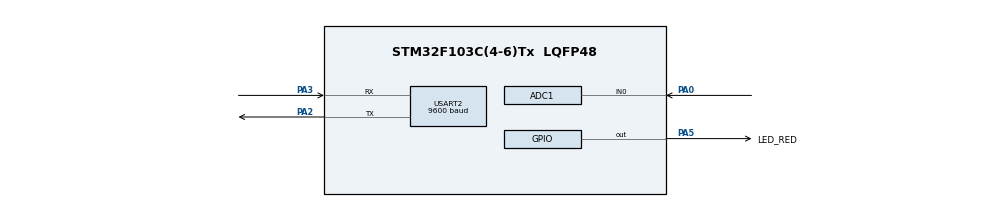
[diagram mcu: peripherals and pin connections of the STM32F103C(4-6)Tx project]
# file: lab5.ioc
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ADC1.Channel-0\#ChannelRegularConversion=ADC_CHANNEL_0
ADC1.ContinuousConvMode=ENABLE
ADC1.NbrOfConversionFlag=1
ADC1.Rank-0\#ChannelRegularConversion=1
ADC1.SamplingTime-0\#ChannelRegularConversion=ADC_SAMPLETIME_1CYCLE_5
ADC1.master=1
Mcu.Family=STM32F1
Mcu.Name=STM32F103C(4-6)Tx
Mcu.Package=LQFP48
NVIC.ADC1_2_IRQn=true\:0\:0\:false\:false\:true\:true\:true
NVIC.PriorityGroup=NVIC_PRIORITYGROUP_4
NVIC.TIM2_IRQn=true\:0\:0\:false\:false\:true\:true\:true
NVIC.USART2_IRQn=true\:0\:0\:false\:false\:true\:true\:true
PA0-WKUP.Signal=ADCx_IN0
PA2.Mode=Asynchronous
PA2.Signal=USART2_TX
PA3.Mode=Asynchronous
PA3.Signal=USART2_RX
PA5.GPIO_Label=LED_RED
PA5.Signal=GPIO_Output
ProjectManager.HeapSize=0x200
ProjectManager.StackSize=0x400
ProjectManager.TargetToolchain=STM32CubeIDE
RCC.APB1Freq_Value=8000000
RCC.APB2Freq_Value=8000000
SH.ADCx_IN0.0=ADC1_IN0,IN0
TIM2.Period=9
TIM2.Prescaler=7999
USART2.BaudRate=9600
USART2.VirtualMode=VM_ASYNC
VP_SYS_VS_ND.Mode=No_Debug
VP_TIM2_VS_ClockSourceINT.Mode=Internal
board=custom

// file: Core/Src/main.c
/* USER CODE BEGIN Header */
/**
  ******************************************************************************
  * @file           : main.c
  * @brief          : Main program body
  ******************************************************************************
  * @attention
  *
  * <h2><center>&copy; Copyright (c) 2022 STMicroelectronics.
  * All rights reserved.</center></h2>
  *
  * This software component is licensed by ST under BSD 3-Clause license,
  * the "License"; You may not use this file except in compliance with the
  * License. You may obtain a copy of the License at:
  *                        opensource.org/licenses/BSD-3-Clause
  *
  ******************************************************************************
  */
/* USER CODE END Header */
#include "main.h"

/* USER CODE BEGIN Includes */
#include "global.h"
/* USER CODE END Includes */

ADC_HandleTypeDef hadc1;

TIM_HandleTypeDef htim2;

UART_HandleTypeDef huart2;

void SystemClock_Config(void);
static void MX_GPIO_Init(void);
static void MX_ADC1_Init(void);
static void MX_USART2_UART_Init(void);
static void MX_TIM2_Init(void);

int main(void)
{

  /* MCU Configuration--------------------------------------------------------*/

  /* Reset of all peripherals, Initializes the Flash interface and the Systick. */
  HAL_Init();

  /* Configure the system clock */
  SystemClock_Config();

  /* Initialize all configured peripherals */
  MX_GPIO_Init();
  MX_ADC1_Init();
  MX_USART2_UART_Init();
  MX_TIM2_Init();
  /* USER CODE BEGIN 2 */
  HAL_UART_Receive_IT (&huart2 ,&temp , 1);
  HAL_TIM_Base_Start_IT(&htim2);
  HAL_ADC_Start(&hadc1);
  /* USER CODE END 2 */

  /* Infinite loop */
  /* USER CODE BEGIN WHILE */

//  char str[10];
  while (1)
  {
//	 HAL_GPIO_TogglePin (LED_RED_GPIO_Port,LED_RED_Pin);
//	 ADC_value = HAL_ADC_GetValue (&hadc1);
//	 HAL_UART_Transmit(&huart2,(void*)str ,sprintf (str,"!ADC = %d# \n",ADC_value),1000);
//	 HAL_Delay(500);

	  if( buffer_flag == 1)
	  {
		  command_parser_fsm();
//		  HAL_GPIO_TogglePin (LED_RED_GPIO_Port,LED_RED_Pin);
		  buffer_flag = 0;
	  }
	  uart_communiation_fsm();
    /* USER CODE END WHILE */

  }
}

void SystemClock_Config(void)
{
  RCC_OscInitTypeDef RCC_OscInitStruct = {0};
  RCC_ClkInitTypeDef RCC_ClkInitStruct = {0};
  RCC_PeriphCLKInitTypeDef PeriphClkInit = {0};

  /** Initializes the RCC Oscillators according to the specified parameters
  * in the RCC_OscInitTypeDef structure.
  */
  RCC_OscInitStruct.OscillatorType = RCC_OSCILLATORTYPE_HSI;
  RCC_OscInitStruct.HSIState = RCC_HSI_ON;
  RCC_OscInitStruct.HSICalibrationValue = RCC_HSICALIBRATION_DEFAULT;
  RCC_OscInitStruct.PLL.PLLState = RCC_PLL_NONE;
  if (HAL_RCC_OscConfig(&RCC_OscInitStruct) != HAL_OK)
  {
    Error_Handler();
  }
  /** Initializes the CPU, AHB and APB buses clocks
  */
  RCC_ClkInitStruct.ClockType = RCC_CLOCKTYPE_HCLK|RCC_CLOCKTYPE_SYSCLK
                              |RCC_CLOCKTYPE_PCLK1|RCC_CLOCKTYPE_PCLK2;
  RCC_ClkInitStruct.SYSCLKSource = RCC_SYSCLKSOURCE_HSI;
  RCC_ClkInitStruct.AHBCLKDivider = RCC_SYSCLK_DIV1;
  RCC_ClkInitStruct.APB1CLKDivider = RCC_HCLK_DIV1;
  RCC_ClkInitStruct.APB2CLKDivider = RCC_HCLK_DIV1;

  if (HAL_RCC_ClockConfig(&RCC_ClkInitStruct, FLASH_LATENCY_0) != HAL_OK)
  {
    Error_Handler();
  }
  PeriphClkInit.PeriphClockSelection = RCC_PERIPHCLK_ADC;
  PeriphClkInit.AdcClockSelection = RCC_ADCPCLK2_DIV2;
  if (HAL_RCCEx_PeriphCLKConfig(&PeriphClkInit) != HAL_OK)
  {
    Error_Handler();
  }
}

static void MX_ADC1_Init(void)
{

  ADC_ChannelConfTypeDef sConfig = {0};

  /** Common config
  */
  hadc1.Instance = ADC1;
  hadc1.Init.ScanConvMode = ADC_SCAN_DISABLE;
  hadc1.Init.ContinuousConvMode = ENABLE;
  hadc1.Init.DiscontinuousConvMode = DISABLE;
  hadc1.Init.ExternalTrigConv = ADC_SOFTWARE_START;
  hadc1.Init.DataAlign = ADC_DATAALIGN_RIGHT;
  hadc1.Init.NbrOfConversion = 1;
  if (HAL_ADC_Init(&hadc1) != HAL_OK)
  {
    Error_Handler();
  }
  /** Configure Regular Channel
  */
  sConfig.Channel = ADC_CHANNEL_0;
  sConfig.Rank = ADC_REGULAR_RANK_1;
  sConfig.SamplingTime = ADC_SAMPLETIME_1CYCLE_5;
  if (HAL_ADC_ConfigChannel(&hadc1, &sConfig) != HAL_OK)
  {
    Error_Handler();
  }

}

static void MX_TIM2_Init(void)
{

  TIM_ClockConfigTypeDef sClockSourceConfig = {0};
  TIM_MasterConfigTypeDef sMasterConfig = {0};

  htim2.Instance = TIM2;
  htim2.Init.Prescaler = 7999;
  htim2.Init.CounterMode = TIM_COUNTERMODE_UP;
  htim2.Init.Period = 9;
  htim2.Init.ClockDivision = TIM_CLOCKDIVISION_DIV1;
  htim2.Init.AutoReloadPreload = TIM_AUTORELOAD_PRELOAD_DISABLE;
  if (HAL_TIM_Base_Init(&htim2) != HAL_OK)
  {
    Error_Handler();
  }
  sClockSourceConfig.ClockSource = TIM_CLOCKSOURCE_INTERNAL;
  if (HAL_TIM_ConfigClockSource(&htim2, &sClockSourceConfig) != HAL_OK)
  {
    Error_Handler();
  }
  sMasterConfig.MasterOutputTrigger = TIM_TRGO_RESET;
  sMasterConfig.MasterSlaveMode = TIM_MASTERSLAVEMODE_DISABLE;
  if (HAL_TIMEx_MasterConfigSynchronization(&htim2, &sMasterConfig) != HAL_OK)
  {
    Error_Handler();
  }

}

static void MX_USART2_UART_Init(void)
{

  huart2.Instance = USART2;
  huart2.Init.BaudRate = 9600;
  huart2.Init.WordLength = UART_WORDLENGTH_8B;
  huart2.Init.StopBits = UART_STOPBITS_1;
  huart2.Init.Parity = UART_PARITY_NONE;
  huart2.Init.Mode = UART_MODE_TX_RX;
  huart2.Init.HwFlowCtl = UART_HWCONTROL_NONE;
  huart2.Init.OverSampling = UART_OVERSAMPLING_16;
  if (HAL_UART_Init(&huart2) != HAL_OK)
  {
    Error_Handler();
  }

}

static void MX_GPIO_Init(void)
{
  GPIO_InitTypeDef GPIO_InitStruct = {0};

  /* GPIO Ports Clock Enable */
  __HAL_RCC_GPIOA_CLK_ENABLE();

  /*Configure GPIO pin Output Level */
  HAL_GPIO_WritePin(LED_RED_GPIO_Port, LED_RED_Pin, GPIO_PIN_RESET);

  /*Configure GPIO pin : LED_RED_Pin */
  GPIO_InitStruct.Pin = LED_RED_Pin;
  GPIO_InitStruct.Mode = GPIO_MODE_OUTPUT_PP;
  GPIO_InitStruct.Pull = GPIO_NOPULL;
  GPIO_InitStruct.Speed = GPIO_SPEED_FREQ_LOW;
  HAL_GPIO_Init(LED_RED_GPIO_Port, &GPIO_InitStruct);

}

/* USER CODE BEGIN 4 */
//uint8_t temp = 0;
uint8_t buffer [ MAX_BUFFER_SIZE ];
uint8_t index_buffer = 0;
void HAL_TIM_PeriodElapsedCallback(TIM_HandleTypeDef *htim)
{
	timerRun();
}

void HAL_UART_RxCpltCallback ( UART_HandleTypeDef * huart ){
	if(huart -> Instance == USART2 ){
//		HAL_UART_Transmit (&huart2 , &temp , 1, 50) ;
		buffer[index_buffer++] = temp ;
		if( index_buffer == 30) index_buffer = 0;
		buffer_flag = 1;
		HAL_UART_Receive_IT (& huart2 , &temp , 1);
	}
}
/* USER CODE END 4 */

void Error_Handler(void)
{
  __disable_irq();
  while (1)
  {
  }
}

/************************ (C) COPYRIGHT STMicroelectronics *****END OF FILE****/
